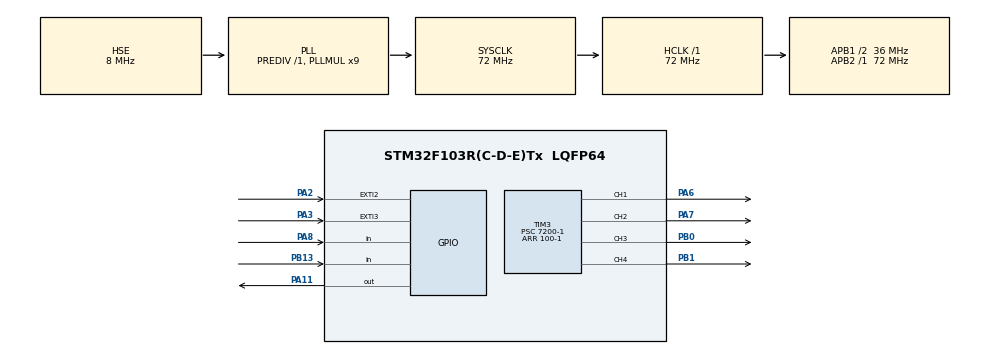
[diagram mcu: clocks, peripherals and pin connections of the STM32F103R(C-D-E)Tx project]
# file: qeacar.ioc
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Mcu.Family=STM32F1
Mcu.Name=STM32F103R(C-D-E)Tx
Mcu.Package=LQFP64
NVIC.EXTI2_IRQn=true\:0\:0\:false\:false\:true\:true\:true\:true
NVIC.EXTI3_IRQn=true\:0\:0\:false\:false\:true\:true\:true\:true
NVIC.PriorityGroup=NVIC_PRIORITYGROUP_4
PA11.GPIO_PuPd=GPIO_PULLUP
PA11.PinState=GPIO_PIN_SET
PA11.Signal=GPIO_Output
PA2.GPIO_ModeDefaultEXTI=GPIO_MODE_IT_FALLING
PA2.GPIO_PuPd=GPIO_PULLDOWN
PA2.Signal=GPXTI2
PA3.GPIO_ModeDefaultEXTI=GPIO_MODE_IT_FALLING
PA3.GPIO_PuPd=GPIO_PULLDOWN
PA3.Signal=GPXTI3
PA6.Signal=S_TIM3_CH1
PA7.Signal=S_TIM3_CH2
PA8.GPIO_PuPd=GPIO_PULLUP
PA8.Signal=GPIO_Input
PB0.Signal=S_TIM3_CH3
PB1.Signal=S_TIM3_CH4
PB13.GPIO_PuPd=GPIO_PULLDOWN
PB13.Signal=GPIO_Input
PD0-OSC_IN.Mode=HSE-External-Oscillator
PD0-OSC_IN.Signal=RCC_OSC_IN
PD1-OSC_OUT.Mode=HSE-External-Oscillator
PD1-OSC_OUT.Signal=RCC_OSC_OUT
ProjectManager.HeapSize=0x200
ProjectManager.StackSize=0x400
ProjectManager.TargetToolchain=MDK-ARM V5.32
RCC.AHBFreq_Value=72000000
RCC.APB1CLKDivider=RCC_HCLK_DIV2
RCC.APB1Freq_Value=36000000
RCC.APB1TimFreq_Value=72000000
RCC.APB2Freq_Value=72000000
RCC.APB2TimFreq_Value=72000000
RCC.HCLKFreq_Value=72000000
RCC.PLLMUL=RCC_PLL_MUL9
RCC.PLLSourceVirtual=RCC_PLLSOURCE_HSE
RCC.SYSCLKFreq_VALUE=72000000
RCC.SYSCLKSource=RCC_SYSCLKSOURCE_PLLCLK
RCC.USBFreq_Value=72000000
SH.S_TIM3_CH1.0=TIM3_CH1,PWM Generation1 CH1
SH.S_TIM3_CH2.0=TIM3_CH2,Output Compare2 CH2
SH.S_TIM3_CH3.0=TIM3_CH3,PWM Generation3 CH3
SH.S_TIM3_CH4.0=TIM3_CH4,PWM Generation4 CH4
TIM3.Channel-Output\ Compare2\ CH2=TIM_CHANNEL_2
TIM3.Channel-PWM\ Generation1\ CH1=TIM_CHANNEL_1
TIM3.Channel-PWM\ Generation3\ CH3=TIM_CHANNEL_3
TIM3.Channel-PWM\ Generation4\ CH4=TIM_CHANNEL_4
TIM3.OC2Preload=ENABLE
TIM3.Period=100-1
TIM3.Prescaler=7200-1
VP_SYS_VS_ND.Mode=No_Debug
board=custom

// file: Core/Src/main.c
/* USER CODE BEGIN Header */
/**
  ******************************************************************************
  * @file           : main.c
  * @brief          : Main program body
  ******************************************************************************
  * @attention
  *
  * Copyright (c) 2023 STMicroelectronics.
  * All rights reserved.
  *
  * This software is licensed under terms that can be found in the LICENSE file
  * in the root directory of this software component.
  * If no LICENSE file comes with this software, it is provided AS-IS.
  *
  ******************************************************************************
  */
/* USER CODE END Header */
#include "main.h"
#include "tim.h"
#include "gpio.h"

/* USER CODE BEGIN PM */
int a;
int b =0;
/* USER CODE END PM */

void SystemClock_Config(void);

/* USER CODE BEGIN 0 */
void HAL_GPIO_EXTI_Callback(uint16_t GPIO_Pin)
{
	b++;
	__HAL_TIM_SET_COMPARE (&htim3,TIM_CHANNEL_1,0);
	__HAL_TIM_SET_COMPARE (&htim3,TIM_CHANNEL_2,0);
	__HAL_TIM_SET_COMPARE (&htim3,TIM_CHANNEL_3,0);
	__HAL_TIM_SET_COMPARE (&htim3,TIM_CHANNEL_4,0);

}
/* USER CODE END 0 */

int main(void)
{

  /* MCU Configuration--------------------------------------------------------*/

  /* Reset of all peripherals, Initializes the Flash interface and the Systick. */
  HAL_Init();

  /* Configure the system clock */
  SystemClock_Config();

  /* Initialize all configured peripherals */
  MX_GPIO_Init();
  MX_TIM3_Init();
  /* USER CODE BEGIN 2 */
HAL_TIM_PWM_Start(&htim3,TIM_CHANNEL_1);
HAL_TIM_PWM_Start(&htim3,TIM_CHANNEL_2);
HAL_TIM_PWM_Start(&htim3,TIM_CHANNEL_3);
HAL_TIM_PWM_Start(&htim3,TIM_CHANNEL_4);
HAL_TIM_Base_Start(&htim3);
  /* USER CODE END 2 */

  /* Infinite loop */
  while (1)
  {

    /* USER CODE BEGIN 3 */
		int flag=0;
		a = HAL_GPIO_ReadPin(GPIOB,GPIO_PIN_13);
		b = HAL_GPIO_ReadPin(GPIOB,GPIO_PIN_12);
if(HAL_GPIO_ReadPin(GPIOB,GPIO_PIN_13) == 1)
	{
		flag=1;

		}
else if(HAL_GPIO_ReadPin(GPIOB,GPIO_PIN_13) == 0)
	{
		flag=0;
		}
if(flag==1)
{
		__HAL_TIM_SET_COMPARE (&htim3,TIM_CHANNEL_1,0);
	__HAL_TIM_SET_COMPARE (&htim3,TIM_CHANNEL_2,40);
	__HAL_TIM_SET_COMPARE (&htim3,TIM_CHANNEL_3,40);
	__HAL_TIM_SET_COMPARE (&htim3,TIM_CHANNEL_4,0);

}
else if(flag==0)
{
	__HAL_TIM_SET_COMPARE (&htim3,TIM_CHANNEL_1,40);
	__HAL_TIM_SET_COMPARE (&htim3,TIM_CHANNEL_2,0);
	__HAL_TIM_SET_COMPARE (&htim3,TIM_CHANNEL_3,0);
	__HAL_TIM_SET_COMPARE (&htim3,TIM_CHANNEL_4,40);
}
  }
  /* USER CODE END 3 */
}

void SystemClock_Config(void)
{
  RCC_OscInitTypeDef RCC_OscInitStruct = {0};
  RCC_ClkInitTypeDef RCC_ClkInitStruct = {0};

  /** Initializes the RCC Oscillators according to the specified parameters
  * in the RCC_OscInitTypeDef structure.
  */
  RCC_OscInitStruct.OscillatorType = RCC_OSCILLATORTYPE_HSE;
  RCC_OscInitStruct.HSEState = RCC_HSE_ON;
  RCC_OscInitStruct.HSEPredivValue = RCC_HSE_PREDIV_DIV1;
  RCC_OscInitStruct.HSIState = RCC_HSI_ON;
  RCC_OscInitStruct.PLL.PLLState = RCC_PLL_ON;
  RCC_OscInitStruct.PLL.PLLSource = RCC_PLLSOURCE_HSE;
  RCC_OscInitStruct.PLL.PLLMUL = RCC_PLL_MUL9;
  if (HAL_RCC_OscConfig(&RCC_OscInitStruct) != HAL_OK)
  {
    Error_Handler();
  }

  /** Initializes the CPU, AHB and APB buses clocks
  */
  RCC_ClkInitStruct.ClockType = RCC_CLOCKTYPE_HCLK|RCC_CLOCKTYPE_SYSCLK
                              |RCC_CLOCKTYPE_PCLK1|RCC_CLOCKTYPE_PCLK2;
  RCC_ClkInitStruct.SYSCLKSource = RCC_SYSCLKSOURCE_PLLCLK;
  RCC_ClkInitStruct.AHBCLKDivider = RCC_SYSCLK_DIV1;
  RCC_ClkInitStruct.APB1CLKDivider = RCC_HCLK_DIV2;
  RCC_ClkInitStruct.APB2CLKDivider = RCC_HCLK_DIV1;

  if (HAL_RCC_ClockConfig(&RCC_ClkInitStruct, FLASH_LATENCY_2) != HAL_OK)
  {
    Error_Handler();
  }
}

void Error_Handler(void)
{
  __disable_irq();
  while (1)
  {
  }
}
